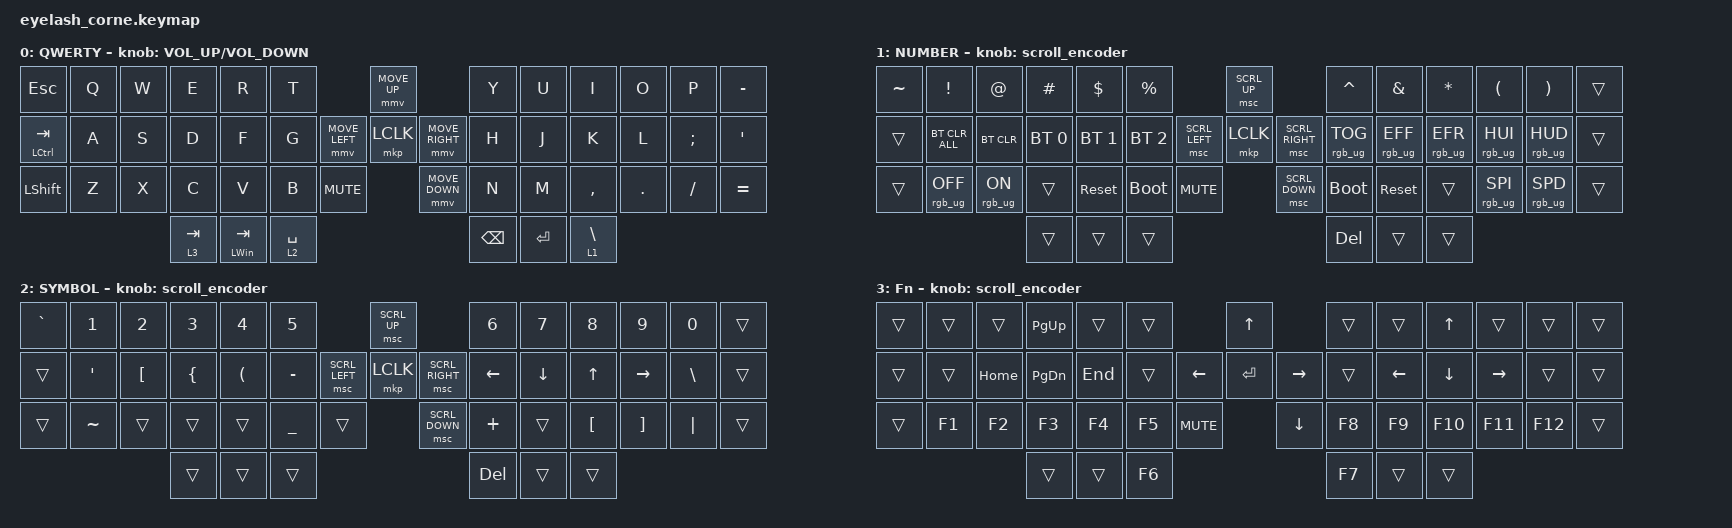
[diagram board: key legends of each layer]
#define ZMK_POINTING_DEFAULT_MOVE_VAL 1200  // 600
#define ZMK_POINTING_DEFAULT_SCRL_VAL 25   // 10

#include <input/processors.dtsi>
#include <zephyr/dt-bindings/input/input-event-codes.h>
#include <behaviors.dtsi>
#include <dt-bindings/zmk/bt.h>
#include <dt-bindings/zmk/keys.h>
#include <dt-bindings/zmk/pointing.h>
#include <dt-bindings/zmk/rgb.h>

&mmv_input_listener { input-processors = <&zip_xy_scaler 2 1>; };

&msc_input_listener { input-processors = <&zip_scroll_scaler 2 1>; };

&msc {
    acceleration-exponent = <1>;      // 0
    time-to-max-speed-ms = <100>;       // 300
    delay-ms = <0>;                   // 0
};

&mmv {
    time-to-max-speed-ms = <500>;
    acceleration-exponent = <1>;
    trigger-period-ms = <16>;
};

&soft_off { hold-time-ms = <2000>; };

/ {
    behaviors {
        td0: td0 {
            compatible = "zmk,behavior-tap-dance";
            display-name = "Shift/Caps Lock Tap Dance";
            #binding-cells = <0>;
            bindings = <&kp LEFT_SHIFT>, <&kp CAPS>;
        };
    };

    rgb_encoder: rgb_encoder {
        compatible = "zmk,behavior-sensor-rotate";
        #sensor-binding-cells = <0>;
        bindings = <&rgb_ug RGB_BRI>, <&rgb_ug RGB_BRD>;
    };

    scroll_encoder: scroll_encoder {
        compatible = "zmk,behavior-sensor-rotate";
        #sensor-binding-cells = <0>;
        bindings = <&msc SCRL_DOWN>, <&msc SCRL_UP>;

        tap-ms = <100>;
    };

    combos {
        compatible = "zmk,combos";

        softoff {
            bindings = <&soft_off>;
            key-positions = <1 15 29>;
        };
    };

    keymap {
        compatible = "zmk,keymap";

        default_layer {
            display-name = "QWERTY";
            bindings = <
&kp ESC         &kp Q  &kp W  &kp E      &kp R             &kp T                                      &mmv MOVE_UP                     &kp Y          &kp U      &kp I            &kp O    &kp P     &kp MINUS
&mt LCTRL TAB   &kp A  &kp S  &kp D      &kp F             &kp G                      &mmv MOVE_LEFT  &mkp LCLK       &mmv MOVE_RIGHT  &kp H          &kp J      &kp K            &kp L    &kp SEMI  &kp SQT
&kp LEFT_SHIFT  &kp Z  &kp X  &kp C      &kp V             &kp B        &kp C_MUTE                    &mmv MOVE_DOWN                   &kp N          &kp M      &kp COMMA        &kp DOT  &kp FSLH  &kp EQUAL
                              &lt 3 TAB  &mt LEFT_WIN TAB  &lt 2 SPACE                                                                 &kp BACKSPACE  &kp ENTER  &lt 1 BACKSLASH
            >;

            sensor-bindings = <&inc_dec_kp C_VOLUME_UP C_VOLUME_DOWN>;
        };

        lower_layer {
            display-name = "NUMBER";
            bindings = <
&kp TILDE  &kp EXCL         &kp AT          &kp HASH      &kp DLLR      &kp PRCNT                                   &msc SCRL_UP                     &kp CARET        &kp AMPS         &kp ASTRK        &kp LPAR         &kp RPAR         &trans
&trans     &bt BT_CLR_ALL   &bt BT_CLR      &bt BT_SEL 0  &bt BT_SEL 1  &bt BT_SEL 2                &msc SCRL_LEFT  &mkp LCLK       &msc SCRL_RIGHT  &rgb_ug RGB_TOG  &rgb_ug RGB_EFF  &rgb_ug RGB_EFR  &rgb_ug RGB_HUI  &rgb_ug RGB_HUD  &trans
&trans     &rgb_ug RGB_OFF  &rgb_ug RGB_ON  &trans        &sys_reset    &bootloader   &kp C_MUTE                    &msc SCRL_DOWN                   &bootloader      &sys_reset       &trans           &rgb_ug RGB_SPI  &rgb_ug RGB_SPD  &trans
                                            &trans        &trans        &trans                                                                       &kp DEL          &trans           &trans
            >;

            sensor-bindings = <&scroll_encoder>;
        };

        raise_layer {
            display-name = "SYMBOL";
            bindings = <
&kp GRAVE  &kp NUMBER_1  &kp NUMBER_2  &kp NUMBER_3  &kp NUMBER_4  &kp NUMBER_5                            &msc SCRL_UP                     &kp NUMBER_6  &kp NUMBER_7  &kp NUMBER_8  &kp NUMBER_9  &kp NUMBER_0  &trans
&trans     &kp SQT       &kp LBKT      &kp LBRC      &kp LPAR      &kp MINUS               &msc SCRL_LEFT  &mkp LCLK       &msc SCRL_RIGHT  &kp LEFT      &kp DOWN      &kp UP        &kp RIGHT     &kp BSLH      &trans
&trans     &kp TILDE     &trans        &trans        &trans        &kp UNDER     &trans                    &msc SCRL_DOWN                   &kp PLUS      &trans        &kp LBKT      &kp RBKT      &kp PIPE      &trans
                                       &trans        &trans        &trans                                                                   &kp DEL       &trans        &trans
            >;

            sensor-bindings = <&scroll_encoder>;
        };

        layer_3 {
            display-name = "Fn";
            bindings = <
&trans  &trans  &trans    &kp PAGE_UP    &trans   &trans                          &kp UP                &trans  &trans    &kp UP    &trans     &trans   &trans
&trans  &trans  &kp HOME  &kp PAGE_DOWN  &kp END  &trans                &kp LEFT  &kp ENTER  &kp RIGHT  &trans  &kp LEFT  &kp DOWN  &kp RIGHT  &trans   &trans
&trans  &kp F1  &kp F2    &kp F3         &kp F4   &kp F5  &kp C_MUTE              &kp DOWN              &kp F8  &kp F9    &kp F10   &kp F11    &kp F12  &trans
                          &trans         &trans   &kp F6                                                &kp F7  &trans    &trans
            >;

            sensor-bindings = <&scroll_encoder>;
        };
    };
};
